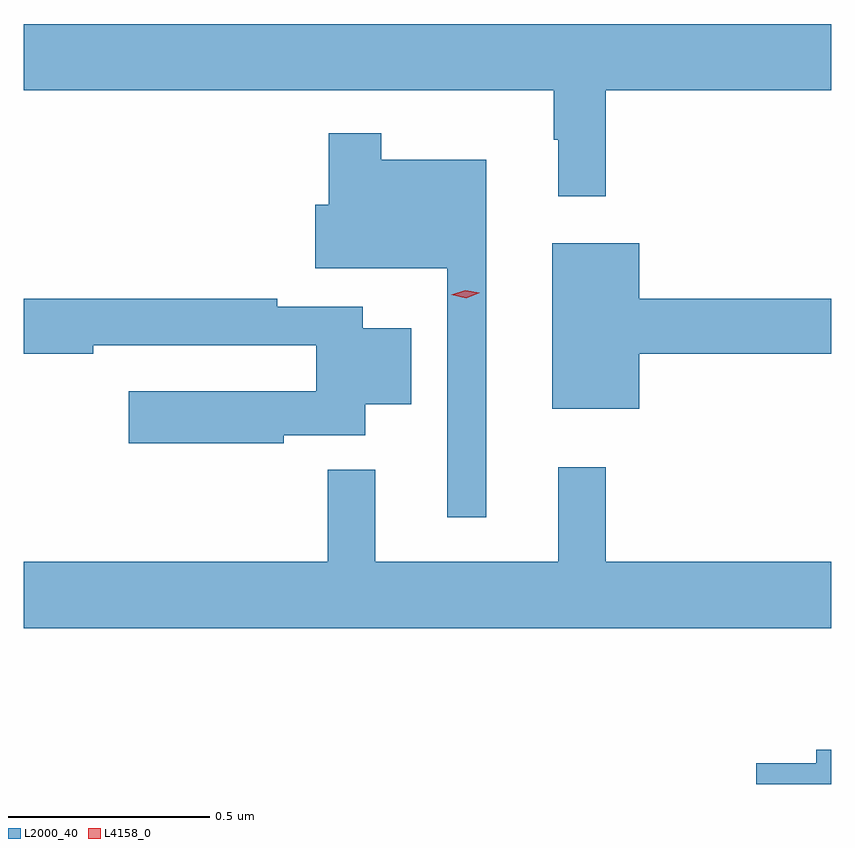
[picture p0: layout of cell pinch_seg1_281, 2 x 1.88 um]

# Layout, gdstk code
import gdstk
lib = gdstk.Library(unit=1e-6, precision=1e-09)
def P(c, l, *ps):  # polygons
    for p in ps: c.add(gdstk.Polygon(p, *l))
L2000_40 = (2000, 40)
L4158_0 = (4158, 0)

pinch_seg1_281 = lib.new_cell('pinch_seg1_281')
P(pinch_seg1_281, L2000_40, [(916.877,554.396),(917.436,554.396),(917.436,554.56),(915.436,554.56),(915.436,554.396),(916.749,554.396),(916.749,554.273),(916.76,554.273),(916.76,554.133),(916.877,554.133)],
  [(916.582,554.224),(916.321,554.224),(916.321,554.29),(916.192,554.29),(916.192,554.113),(916.158,554.113),(916.158,553.955),(916.485,553.955),(916.485,553.338),(916.582,553.338)],
  [(916.96,553.744),(917.436,553.744),(917.436,553.88),(916.96,553.88),(916.96,554.017),(916.745,554.017),(916.745,553.607),(916.96,553.607)],
  [(916.08,553.541),(916.282,553.541),(916.282,553.619),(916.396,553.619),(916.396,553.807),(916.276,553.807),(916.276,553.86),(916.064,553.86),(916.064,553.88),(915.436,553.88),(915.436,553.744),(915.608,553.744),(915.608,553.764),(916.16,553.764),(916.16,553.651),(915.696,553.651),(915.696,553.522),(916.08,553.522)],
  [(917.436,553.228),(916.877,553.228),(916.877,553.462),(916.76,553.462),(916.76,553.228),(916.307,553.228),(916.307,553.456),(916.189,553.456),(916.189,553.228),(915.436,553.228),(915.436,553.064),(917.436,553.064)],
  [(917.436,552.763),(917.399,552.763),(917.399,552.729),(917.25,552.729),(917.25,552.678),(917.436,552.678)])
P(pinch_seg1_281, L4158_0, [(916.532,553.881),(916.495,553.889),(916.495,553.889),(916.495,553.889),(916.53,553.901),(916.566,553.894),(916.566,553.894),(916.566,553.894)])

lib.write_gds('pinch_seg1_281.gds')
